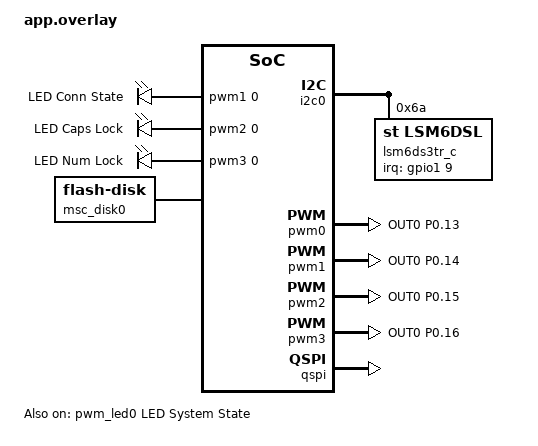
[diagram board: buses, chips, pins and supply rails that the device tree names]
/ {
	chosen {
		nordic,pm-ext-flash = &mx25r64;
	};
};

/ {
	chosen {
		/*
		 * In some default configurations within the nRF Connect SDK,
		 * e.g. on nRF52840 and nRF9160, the chosen zephyr,entropy node
		 * is &cryptocell. This devicetree overlay ensures that default
		 * is overridden wherever it is set, as this application uses
		 * the RNG node for entropy exclusively.
		 */
		zephyr,entropy = &rng;
	};

	pwmleds1 {
		compatible = "pwm-leds";
		status = "okay";

		pwm_led1: led_pwm_1 {
			status = "okay";
			pwms = <&pwm1 0 PWM_MSEC(20) PWM_POLARITY_INVERTED>;
			label = "LED Conn State";
		};
	};

	pwmleds2 {
		compatible = "pwm-leds";
		status = "okay";

		pwm_led2: led_pwm_2 {
			status = "okay";
			pwms = <&pwm2 0 PWM_MSEC(20) PWM_POLARITY_INVERTED>;
			label = "LED Caps Lock";
		};
	};

	pwmleds3 {
		compatible = "pwm-leds";
		status = "okay";

		pwm_led3: led_pwm_3 {
			status = "okay";
			pwms = <&pwm3 0 PWM_MSEC(20) PWM_POLARITY_INVERTED>;
			label = "LED Num Lock";
		};
	};
};

&i2c0 {
    lsm6ds3tr_c: lsm6ds3tr-c@6a {
		compatible = "st,lsm6dsl";
		reg = <0x6a>;
		irq-gpios = <&gpio1 9 GPIO_ACTIVE_HIGH>;
		status = "okay";
	};
};

&pwm0 {
	status = "okay";
	pinctrl-0 = <&pwm0_default_alt>;
	pinctrl-1 = <&pwm0_sleep_alt>;
	pinctrl-names = "default", "sleep";
};

&pwm1 {
	status = "okay";
	pinctrl-0 = <&pwm1_default_alt>;
	pinctrl-1 = <&pwm1_sleep_alt>;
	pinctrl-names = "default", "sleep";
};

&pwm2 {
	status = "okay";
	pinctrl-0 = <&pwm2_default_alt>;
	pinctrl-1 = <&pwm2_sleep_alt>;
	pinctrl-names = "default", "sleep";
};

&pwm3 {
	status = "okay";
	pinctrl-0 = <&pwm3_default_alt>;
	pinctrl-1 = <&pwm3_sleep_alt>;
	pinctrl-names = "default", "sleep";
};

&pwm_led0 {
	status = "okay";
	pwms = <&pwm0 0 PWM_MSEC(20) PWM_POLARITY_INVERTED>;
	label = "LED System State";
};

&qspi {
	status = "okay";
};

&pinctrl {
	pwm0_default_alt: pwm0_default_alt {
		group1 {
			psels = <NRF_PSEL(PWM_OUT0, 0, 13)>;
			nordic,invert;
		};
	};

	pwm0_sleep_alt: pwm0_sleep_alt {
		group1 {
			psels = <NRF_PSEL(PWM_OUT0, 0, 13)>;
			low-power-enable;
		};
	};

	pwm1_default_alt: pwm1_default_alt {
		group1 {
			psels = <NRF_PSEL(PWM_OUT0, 0, 14)>;
			nordic,invert;
		};
	};

	pwm1_sleep_alt: pwm1_sleep_alt {
		group1 {
			psels = <NRF_PSEL(PWM_OUT0, 0, 14)>;
			low-power-enable;
		};
	};

	pwm2_default_alt: pwm2_default_alt {
		group1 {
			psels = <NRF_PSEL(PWM_OUT0, 0, 15)>;
			nordic,invert;
		};
	};

	pwm2_sleep_alt: pwm2_sleep_alt {
		group1 {
			psels = <NRF_PSEL(PWM_OUT0, 0, 15)>;
			low-power-enable;
		};
	};

	pwm3_default_alt: pwm3_default_alt {
		group1 {
			psels = <NRF_PSEL(PWM_OUT0, 0, 16)>;
			nordic,invert;
		};
	};

	pwm3_sleep_alt: pwm3_sleep_alt {
		group1 {
			psels = <NRF_PSEL(PWM_OUT0, 0, 16)>;
			low-power-enable;
		};
	};
};


// /delete-node/ &storage_partition;

&mx25r64 {
	partitions {
		compatible = "fixed-partitions";
		#address-cells = <1>;
		#size-cells = <1>;

		my_storage_partition: partition@0 {
			label = "my_storage";
			reg = <0x00100000 0x00010000>;
		};
	};
};

/ {
	msc_disk0 {
		compatible = "zephyr,flash-disk";
		partition = <&my_storage_partition>;
		disk-name = "NAND";
		cache-size = <4096>;
	};
};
